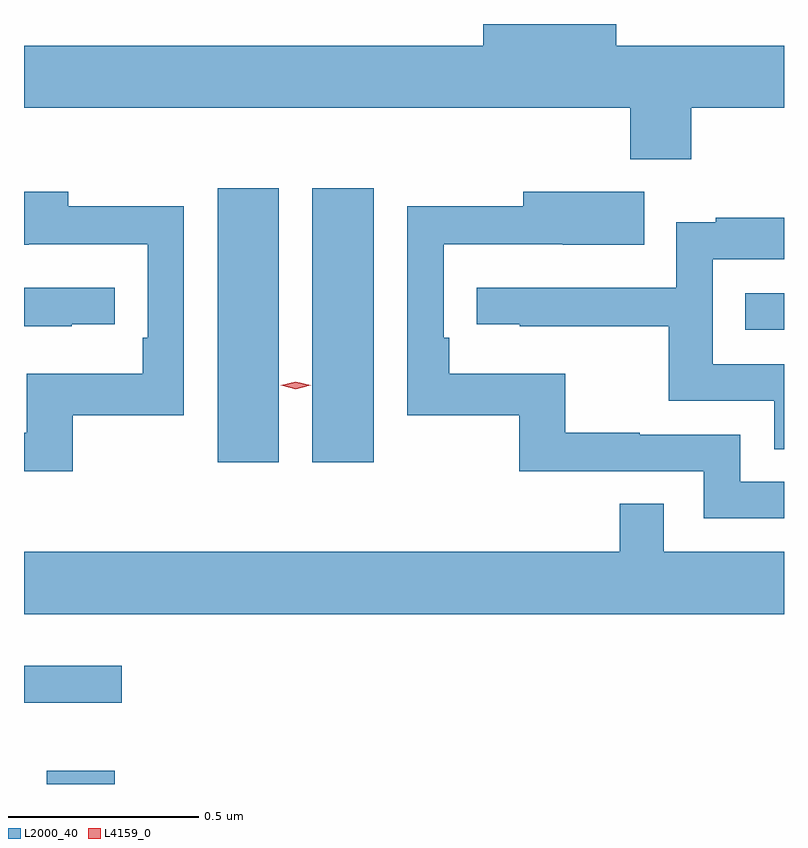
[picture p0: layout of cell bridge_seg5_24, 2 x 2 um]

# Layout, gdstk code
import gdstk
lib = gdstk.Library(unit=1e-6, precision=1e-09)
def R(c, l, rs):  # rectangles x0, y0, x1, y1
    for r in rs: c.add(gdstk.rectangle(r[:2], r[2:], *l))
def P(c, l, *ps):  # polygons
    for p in ps: c.add(gdstk.Polygon(p, *l))
L2000_40 = (2000, 40)
L4159_0 = (4159, 0)

bridge_seg5_24 = lib.new_cell('bridge_seg5_24')
R(bridge_seg5_24, L2000_40, [(1105.715,876.293,1105.894,876.328), (1105.655,876.507,1105.912,876.604), (1106.165,877.14,1106.326,877.861), (1106.414,877.14,1106.575,877.861), (1107.553,877.488,1107.655,877.584)])
P(bridge_seg5_24, L2000_40, [(1107.411,878.072),(1107.655,878.072),(1107.655,878.236),(1107.214,878.236),(1107.214,878.293),(1106.864,878.293),(1106.864,878.236),(1105.655,878.236),(1105.655,878.072),(1107.251,878.072),(1107.251,877.937),(1107.411,877.937)],
  [(1105.783,877.263),(1106.076,877.263),(1106.076,877.814),(1105.771,877.814),(1105.771,877.852),(1105.655,877.852),(1105.655,877.712),(1105.667,877.712),(1105.667,877.713),(1105.98,877.713),(1105.98,877.468),(1105.967,877.468),(1105.967,877.372),(1105.662,877.372),(1105.662,877.217),(1105.655,877.217),(1105.655,877.116),(1105.783,877.116)],
  [(1107.655,877.089),(1107.54,877.089),(1107.54,877.212),(1107.275,877.212),(1107.275,877.217),(1107.079,877.217),(1107.079,877.372),(1106.774,877.372),(1106.774,877.468),(1106.76,877.468),(1106.76,877.713),(1107.073,877.713),(1107.073,877.712),(1107.287,877.712),(1107.287,877.852),(1106.969,877.852),(1106.969,877.814),(1106.664,877.814),(1106.664,877.263),(1106.958,877.263),(1106.958,877.116),(1107.444,877.116),(1107.444,876.993),(1107.655,876.993)],
  [(1107.655,877.398),(1107.468,877.398),(1107.468,877.674),(1107.655,877.674),(1107.655,877.783),(1107.475,877.783),(1107.475,877.771),(1107.372,877.771),(1107.372,877.599),(1106.847,877.599),(1106.847,877.503),(1106.959,877.503),(1106.959,877.498),(1107.352,877.498),(1107.352,877.302),(1107.629,877.302),(1107.629,877.174),(1107.655,877.174)],
  [(1105.781,877.503),(1105.894,877.503),(1105.894,877.599),(1105.655,877.599),(1105.655,877.498),(1105.781,877.498)],
  [(1107.655,876.904),(1107.339,876.904),(1107.339,877.031),(1107.223,877.031),(1107.223,876.904),(1105.655,876.904),(1105.655,876.74),(1107.655,876.74)])
P(bridge_seg5_24, L4159_0, [(1106.37,877.332),(1106.33,877.342),(1106.33,877.342),(1106.33,877.343),(1106.37,877.352),(1106.41,877.343),(1106.41,877.342),(1106.41,877.342)])

lib.write_gds('bridge_seg5_24.gds')
